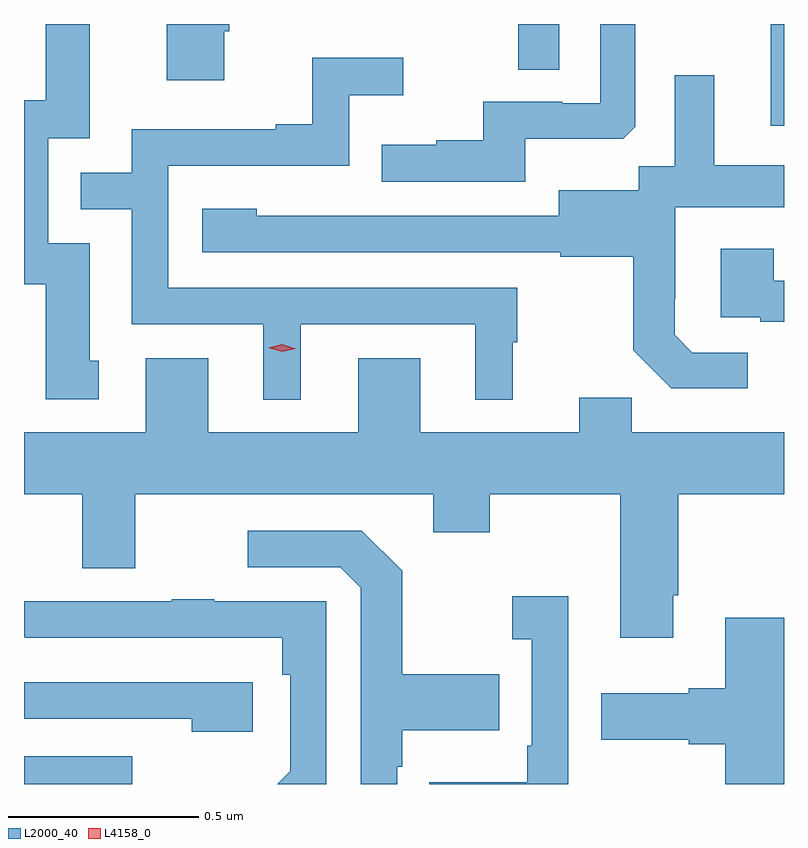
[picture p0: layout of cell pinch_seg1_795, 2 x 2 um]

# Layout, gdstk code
import gdstk
lib = gdstk.Library(unit=1e-6, precision=1e-09)
def R(c, l, rs):  # rectangles x0, y0, x1, y1
    for r in rs: c.add(gdstk.rectangle(r[:2], r[2:], *l))
def P(c, l, *ps):  # polygons
    for p in ps: c.add(gdstk.Polygon(p, *l))
L2000_40 = (2000, 40)
L4158_0 = (4158, 0)

pinch_seg1_795 = lib.new_cell('pinch_seg1_795')
R(pinch_seg1_795, L2000_40, [(611.036,574.946,611.321,575.019), (613.001,576.678,613.036,576.946), (612.336,576.826,612.444,576.946)])
P(pinch_seg1_795, L2000_40, [(612.355,576.644),(612.613,576.644),(612.645,576.675),(612.645,576.946),(612.552,576.946),(612.552,576.738),(612.452,576.738),(612.452,576.741),(612.245,576.741),(612.245,576.64),(612.121,576.64),(612.121,576.628),(611.977,576.628),(611.977,576.531),(612.355,576.531)],
  [(611.563,576.927),(611.576,576.927),(611.576,576.946),(611.411,576.946),(611.411,576.798),(611.563,576.798)],
  [(611.233,576.06),(611.209,576.06),(611.209,576.369),(611.1,576.369),(611.1,576.645),(611.209,576.645),(611.209,576.946),(611.093,576.946),(611.093,576.746),(611.036,576.746),(611.036,576.261),(611.093,576.261),(611.093,575.958),(611.233,575.958)],
  [(611.764,576.156),(612.224,576.156),(612.224,575.957),(612.322,575.957),(612.322,576.108),(612.334,576.108),(612.334,576.252),(611.415,576.252),(611.415,576.573),(611.892,576.573),(611.892,576.758),(612.034,576.758),(612.034,576.857),(611.794,576.857),(611.794,576.682),(611.699,576.682),(611.699,576.669),(611.319,576.669),(611.319,576.555),(611.185,576.555),(611.185,576.459),(611.319,576.459),(611.319,576.156),(611.666,576.156),(611.666,575.957),(611.764,575.957)],
  [(612.94,576.081),(612.795,576.081),(612.748,576.128),(612.748,576.223),(612.75,576.223),(612.75,576.464),(613.036,576.464),(613.036,576.574),(612.853,576.574),(612.853,576.811),(612.749,576.811),(612.749,576.572),(612.654,576.572),(612.654,576.508),(612.443,576.508),(612.443,576.441),(611.885,576.441),(611.885,576.442),(611.649,576.442),(611.649,576.46),(611.505,576.46),(611.505,576.345),(612.447,576.345),(612.447,576.333),(612.639,576.333),(612.639,576.087),(612.739,575.987),(612.94,575.987)],
  [(613.036,576.27),(613.009,576.27),(613.009,576.355),(612.869,576.355),(612.869,576.174),(612.973,576.174),(612.973,576.162),(613.036,576.162)],
  [(612.745,575.443),(612.758,575.443),(612.758,575.708),(613.036,575.708),(613.036,575.872),(612.635,575.872),(612.635,575.963),(612.497,575.963),(612.497,575.872),(612.079,575.872),(612.079,576.067),(611.915,576.067),(611.915,575.872),(611.521,575.872),(611.521,576.067),(611.357,576.067),(611.357,575.872),(611.036,575.872),(611.036,575.708),(611.189,575.708),(611.189,575.514),(611.329,575.514),(611.329,575.708),(612.113,575.708),(612.113,575.609),(612.261,575.609),(612.261,575.708),(612.605,575.708),(612.605,575.331),(612.745,575.331)],
  [(612.018,574.991),(612.031,574.991),(612.031,575.087),(612.287,575.087),(612.287,575.235),(612.031,575.235),(612.031,575.507),(611.925,575.613),(611.625,575.613),(611.625,575.517),(611.868,575.517),(611.922,575.463),(611.922,574.946),(612.018,574.946)],
  [(612.468,575.44),(612.321,575.44),(612.321,575.327),(612.372,575.327),(612.372,575.047),(612.36,575.047),(612.36,574.951),(612.103,574.951),(612.103,574.946),(612.468,574.946)],
  [(611.832,575.427),(611.537,575.427),(611.537,575.432),(611.425,575.432),(611.425,575.427),(611.036,575.427),(611.036,575.332),(611.041,575.332),(611.041,575.331),(611.716,575.331),(611.716,575.234),(611.736,575.234),(611.736,574.98),(611.702,574.946),(611.832,574.946)],
  [(613.036,575.383),(612.881,575.383),(612.881,575.198),(612.785,575.198),(612.785,575.185),(612.555,575.185),(612.555,575.063),(612.785,575.063),(612.785,575.051),(612.881,575.051),(612.881,574.946),(613.036,574.946)],
  [(611.638,575.214),(611.036,575.214),(611.036,575.118),(611.477,575.118),(611.477,575.084),(611.638,575.084)])
P(pinch_seg1_795, L4158_0, [(611.715,576.083),(611.679,576.094),(611.679,576.094),(611.679,576.094),(611.715,576.103),(611.751,576.092),(611.751,576.092),(611.751,576.092)])

lib.write_gds('pinch_seg1_795.gds')
